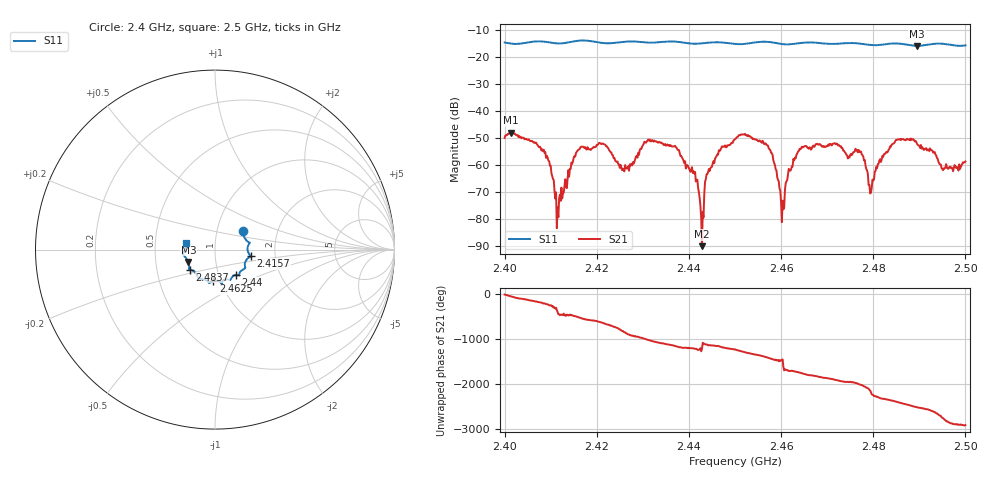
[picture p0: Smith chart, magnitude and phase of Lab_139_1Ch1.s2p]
# Hz S RI R
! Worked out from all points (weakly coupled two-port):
!   601 points, 2.4 GHz to 2.5 GHz, reference 50 ohm
!   highest |S21| = -47.98 dB at 2.4013 GHz (marker M1); lowest = -90.2 dB at 2.4428 GHz (marker M2)
!   lowest |S11| = -15.7 dB at 2.4895 GHz (marker M3), VSWR 1.39, Z = 36.8 - j5.17 ohm
!   |S11| at or under -10 dB: start of sweep to end of sweep
!   S12 and S22 are empty: the file has one direction only
!   S11 on the Smith chart (normalised r, x): 2.4 GHz: 1.33, +0.29; 2.4157 GHz: 1.49, -0.11; 2.44 GHz: 1.21, -0.35; 2.4625 GHz: 0.92, -0.34; 2.4837 GHz: 0.74, -0.17; 2.5 GHz: 0.72, +0.05
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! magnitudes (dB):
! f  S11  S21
! 2.4 GHz  -14.5  -50.0
! 2.4013 GHz  -14.9  -48.0
! 2.4087 GHz  -14.2  -55.6
! 2.4117 GHz  -14.8  -79.5
! 2.4157 GHz  -13.9  -55.1
! 2.4167 GHz  -13.7  -53.2
! 2.426 GHz  -14.2  -62.4
! 2.4333 GHz  -14.4  -51.7
! 2.44 GHz  -14.8  -61.3
! 2.4428 GHz  -14.8  -90.2
! 2.4443 GHz  -14.5  -61.5
! 2.45 GHz  -15.0  -50.4
! 2.4572 GHz  -14.2  -52.9
! 2.4602 GHz  -15.1  -81.3
! 2.4625 GHz  -15.0  -60.6
! 2.4667 GHz  -14.5  -53.9
! 2.4768 GHz  -14.8  -54.5
! 2.4795 GHz  -15.4  -70.4
! 2.4833 GHz  -15.0  -54.4
! 2.4837 GHz  -14.9  -53.1
! 2.4895 GHz  -15.7  -52.2
! 2.5 GHz  -15.6  -58.7
